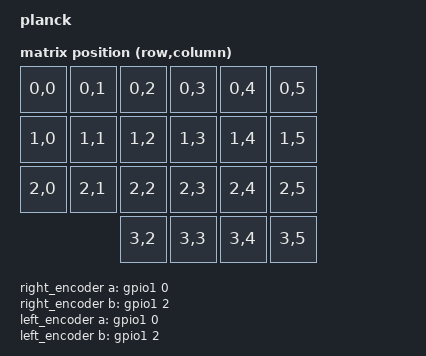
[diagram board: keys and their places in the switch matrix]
/*
 * Copyright (c) 2020 The ZMK Contributors
 *
 * SPDX-License-Identifier: MIT
 */

/dts-v1/;
#include <nordic/nrf52840_qiaa.dtsi>
#include <dt-bindings/zmk/matrix_transform.h>
#include <physical_layouts.dtsi>

/ {
    model = "planck";
    compatible = "yangxing,planck";

    chosen {
        zephyr,code-partition = &code_partition;
        zephyr,sram = &sram0;
        zephyr,flash = &flash0;
        zmk,battery = &vbatt;
    };

    // 独立键盘：每块板各自 22 键（6 列 x 4 行，底排 4 键）。
    // 这里给出「左板」的映射（底排在 col 2..5）；右板在 planck_right.dts 里
    // 覆盖 map（底排在 col 0..3）。位置索引 0..21 按下面阅读顺序排列。
    default_transform: keymap_transform_0 {
        compatible = "zmk,matrix-transform";
        columns = <6>;
        rows = <4>;
// | SW1  | SW2  | SW3  | SW4  | SW5  | SW6  |
// | SW7  | SW8  | SW9  | SW10 | SW11 | SW12 |
// | SW13 | SW14 | SW15 | SW16 | SW17 | SW18 |
//               | SW19 | SW20 | SW21 | ENC  |
        map = <
            RC(0,0) RC(0,1) RC(0,2) RC(0,3) RC(0,4) RC(0,5)
            RC(1,0) RC(1,1) RC(1,2) RC(1,3) RC(1,4) RC(1,5)
            RC(2,0) RC(2,1) RC(2,2) RC(2,3) RC(2,4) RC(2,5)
                            RC(3,2) RC(3,3) RC(3,4) RC(3,5)
        >;
    };

    // 物理布局按板旋转 90°，分别定义在 planck_left.dts / planck_right.dts。

    vbatt: vbatt {
        compatible = "zmk,battery-nrf-vddh";
    };
	right_encoder: encoder_right {
					compatible = "alps,ec11";
					a-gpios = <&gpio1 0 (GPIO_ACTIVE_HIGH)>;
					b-gpios = <&gpio1 2 (GPIO_ACTIVE_HIGH)>;
					status = "disabled";
					steps = <80>;
	 };

	left_encoder: encoder_left {
					compatible = "alps,ec11";
					a-gpios = <&gpio1 0 (GPIO_ACTIVE_HIGH)>;
					b-gpios = <&gpio1 2 (GPIO_ACTIVE_HIGH)>;
					status = "disabled";
					steps = <80>;
	 };
sensors: sensors {
        compatible = "zmk,keymap-sensors";
        sensors = <&left_encoder &right_encoder >;
        triggers-per-rotation = <20>;
    };
};

&adc {
    status = "okay";
};
&gpiote {
    status = "okay";
};

&gpio0 {
    status = "okay";
};

&gpio1 {
    status = "okay";
};

zephyr_udc0:&usbd {
		status = "okay";
};



&flash0 {
    /*
     * For more information, see:
     * http://docs.zephyrproject.org/latest/devices/dts/flash_partitions.html
     */
    partitions {
        compatible = "fixed-partitions";
        #address-cells = <1>;
        #size-cells = <1>;

        sd_partition: partition@0 {
            reg = <0x00000000 0x00026000>;
        };
        code_partition: partition@26000 {
            reg = <0x00026000 0x000c6000>;
        };

        /*
         * The flash starting at 0x000ec000 and ending at
         * 0x000f3fff is reserved for use by the application.
         */

        /*
         * Storage partition will be used by FCB/LittleFS/NVS
         * if enabled.
         */
        storage_partition: partition@ec000 {
            reg = <0x000ec000 0x00008000>;
        };

        boot_partition: partition@f4000 {
            reg = <0x000f4000 0x0000c000>;
        };
    };
};
